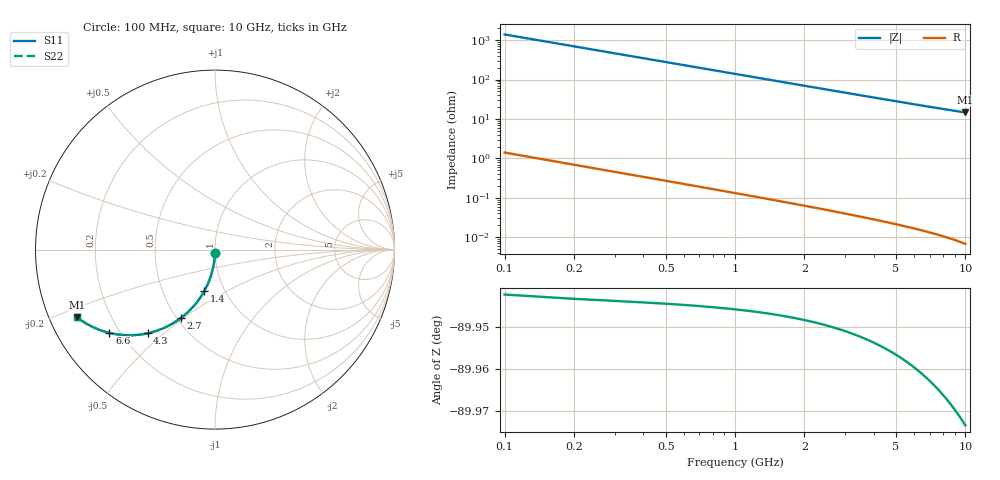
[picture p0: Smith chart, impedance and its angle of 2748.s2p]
# Hz S RI R 50.00
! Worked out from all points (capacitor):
!   100 points, 100 MHz to 10 GHz, reference 50 ohm
!   read as one part in shunt: C = 1.14 pF near 100 MHz
!   lowest |Z| = 14.6 ohm at 10 GHz (marker M1)
!   S11 on the Smith chart (normalised r, x): 100 MHz: 1.00, -0.04; 1.4 GHz: 0.80, -0.39; 2.7 GHz: 0.52, -0.49; 4.3 GHz: 0.30, -0.44; 6.6 GHz: 0.16, -0.34; 10 GHz: 0.08, -0.23
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1e8  -1.51e-05 -0.0175  0.9993 -0.0184  0.9993 -0.0184  -1.51e-05 -0.0175
2e8  -0.000995 -0.035  0.9983 -0.0367  0.9983 -0.0367  -0.000995 -0.035
3e8  -0.00261 -0.0525  0.9967 -0.0549  0.9967 -0.0549  -0.00261 -0.0525
4e8  -0.00487 -0.0698  0.9945 -0.0731  0.9945 -0.0731  -0.00487 -0.0698
5e8  -0.00774 -0.087  0.9916 -0.0911  0.9916 -0.0911  -0.00774 -0.087
6e8  -0.0112 -0.104  0.9881 -0.1089  0.9881 -0.1089  -0.0112 -0.104
7e8  -0.0153 -0.1208  0.984 -0.1266  0.984 -0.1266  -0.0153 -0.1208
9e8  -0.0252 -0.1537  0.9741 -0.1611  0.9741 -0.1611  -0.0252 -0.1537
1.1e9  -0.0374 -0.1855  0.9619 -0.1946  0.9619 -0.1946  -0.0374 -0.1855
1.4e9  -0.0593 -0.2306  0.94 -0.2421  0.94 -0.2421  -0.0593 -0.2306
1.8e9  -0.0945 -0.2852  0.9047 -0.3  0.9047 -0.3  -0.0945 -0.2852
2.2e9  -0.1351 -0.3326  0.8641 -0.3508  0.8641 -0.3508  -0.1351 -0.3326
2.7e9  -0.1906 -0.3815  0.8084 -0.4038  0.8084 -0.4038  -0.1906 -0.3815
3.4e9  -0.2723 -0.4309  0.7266 -0.459  0.7266 -0.459  -0.2723 -0.4309
4.3e9  -0.3752 -0.466  0.6235 -0.5016  0.6235 -0.5016  -0.3752 -0.466
5.1e9  -0.4587 -0.4766  0.5396 -0.519  0.5396 -0.519  -0.4587 -0.4766
5.8e9  -0.5238 -0.4747  0.4743 -0.523  0.4743 -0.523  -0.5238 -0.4747
6.6e9  -0.5885 -0.4638  0.4092 -0.5189  0.4092 -0.5189  -0.5885 -0.4638
6.7e9  -0.5959 -0.4619  0.4018 -0.5179  0.4018 -0.5179  -0.5959 -0.4619
7.5e9  -0.6499 -0.4446  0.3474 -0.5074  0.3474 -0.5074  -0.6499 -0.4446
8.4e9  -0.7007 -0.4213  0.296 -0.4919  0.296 -0.4919  -0.7007 -0.4213
1e10  -0.7703 -0.3762  0.2252 -0.461  0.2252 -0.461  -0.7703 -0.3762
